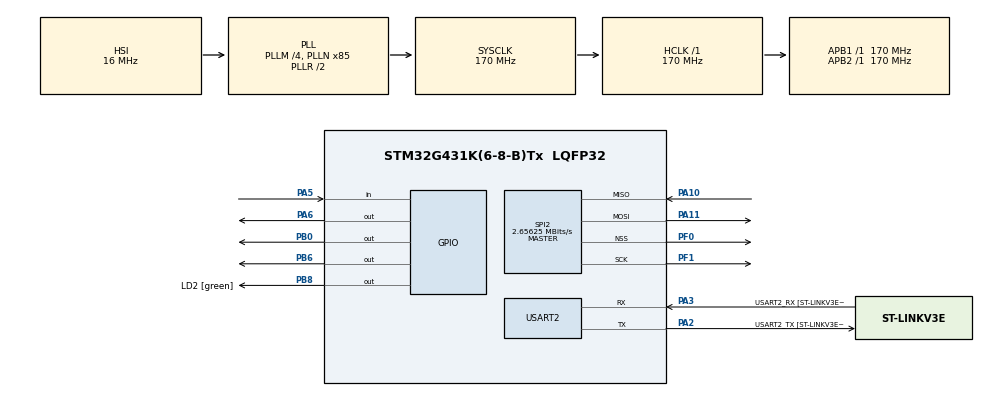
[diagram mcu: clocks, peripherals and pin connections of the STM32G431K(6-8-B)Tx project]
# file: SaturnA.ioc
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Mcu.Family=STM32G4
Mcu.Name=STM32G431K(6-8-B)Tx
Mcu.Package=LQFP32
NVIC.PriorityGroup=NVIC_PRIORITYGROUP_4
NVIC.SPI2_IRQn=true\:0\:0\:false\:false\:true\:true\:true\:true
PA10.Mode=Full_Duplex_Master
PA10.Signal=SPI2_MISO
PA11.Mode=Full_Duplex_Master
PA11.Signal=SPI2_MOSI
PA13.GPIO_Label=T_SWDIO
PA13.Mode=Serial_Wire
PA13.Signal=SYS_JTMS-SWDIO
PA14.GPIO_Label=T_SWCLK
PA14.Mode=Serial_Wire
PA14.Signal=SYS_JTCK-SWCLK
PA2.GPIO_Label=USART2_TX [ST-LINKV3E_VCP_RX]
PA2.Mode=Asynchronous
PA2.Signal=USART2_TX
PA3.GPIO_Label=USART2_RX [ST-LINKV3E_VCP_TX]
PA3.Mode=Asynchronous
PA3.Signal=USART2_RX
PA5.Signal=GPIO_Input
PA6.GPIO_Speed=GPIO_SPEED_FREQ_VERY_HIGH
PA6.Signal=GPIO_Output
PA8.Signal=S_TIM1_CH1
PB0.Signal=GPIO_Output
PB3.Signal=SYS_JTDO-SWO
PB6.Signal=GPIO_Output
PB8-BOOT0.GPIO_Label=LD2 [green]
PB8-BOOT0.Signal=GPIO_Output
PF0-OSC_IN.Mode=NSS_Signal_Hard_Output
PF0-OSC_IN.Signal=SPI2_NSS
PF1-OSC_OUT.Mode=Full_Duplex_Master
PF1-OSC_OUT.Signal=SPI2_SCK
ProjectManager.HeapSize=0x200
ProjectManager.StackSize=0x400
ProjectManager.TargetToolchain=STM32CubeIDE
RCC.ADC12Freq_Value=170000000
RCC.AHBFreq_Value=170000000
RCC.APB1Freq_Value=170000000
RCC.APB1TimFreq_Value=170000000
RCC.APB2Freq_Value=170000000
RCC.APB2TimFreq_Value=170000000
RCC.CortexFreq_Value=170000000
RCC.EXTERNAL_CLOCK_VALUE=12288000
RCC.HCLKFreq_Value=170000000
RCC.HSE_VALUE=8000000
RCC.HSI48_VALUE=48000000
RCC.HSI_VALUE=16000000
RCC.LSE_VALUE=32768
RCC.PLLM=RCC_PLLM_DIV4
RCC.PLLN=85
RCC.SYSCLKFreq_VALUE=170000000
RCC.SYSCLKSource=RCC_SYSCLKSOURCE_PLLCLK
RCC.USBFreq_Value=170000000
RCC.VCOOutputFreq_Value=340000000
SH.S_TIM1_CH1.0=TIM1_CH1
SPI2.BaudRatePrescaler=SPI_BAUDRATEPRESCALER_64
SPI2.CLKPhase=SPI_PHASE_2EDGE
SPI2.CLKPolarity=SPI_POLARITY_HIGH
SPI2.CalculateBaudRate=2.65625 MBits/s
SPI2.DataSize=SPI_DATASIZE_8BIT
SPI2.Direction=SPI_DIRECTION_2LINES
SPI2.Mode=SPI_MODE_MASTER
SPI2.VirtualNSS=VM_NSSHARD
SPI2.VirtualType=VM_MASTER
USART2.AutoBaudRateEnableParam=UART_ADVFEATURE_AUTOBAUDRATE_DISABLE
USART2.VirtualMode-Asynchronous=VM_ASYNC
USART2.WordLength=WORDLENGTH_8B
VP_SYS_VS_DBSignals.Mode=DisableDeadBatterySignals
board=NUCLEO-G431KB

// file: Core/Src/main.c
/* USER CODE BEGIN Header */
/**
  ******************************************************************************
  * @file           : main.c
  * @brief          : Main program body
  ******************************************************************************
  * @attention
  *
  * Copyright (c) 2024 STMicroelectronics.
  * All rights reserved.
  *
  * This software is licensed under terms that can be found in the LICENSE file
  * in the root directory of this software component.
  * If no LICENSE file comes with this software, it is provided AS-IS.
  *
  ******************************************************************************
  */
/* USER CODE END Header */
#include "main.h"
#include "spi.h"
#include "usart.h"
#include "gpio.h"

/* USER CODE BEGIN Includes */
#include "SaturnA/SaturnA_Core.h"
/* USER CODE END Includes */

void SystemClock_Config(void);

/* USER CODE BEGIN 0 */

#define TIMCLOCK 170000000
#define PRESCALAR 1

uint32_t IC_Val1 = 0;
uint32_t IC_Val2 = 0;
uint32_t Difference = 0;
int Is_First_Captured = 0;

/* Measure Frequency*/

float frequency = 0;

/* USER CODE END 0 */

int main(void)
{

  /* MCU Configuration--------------------------------------------------------*/

  /* Reset of all peripherals, Initializes the Flash interface and the Systick. */
  HAL_Init();

  /* Configure the system clock */
  SystemClock_Config();

  /* Initialize all configured peripherals */
  MX_GPIO_Init();
  MX_USART2_UART_Init();
  MX_SPI2_Init();
  /* USER CODE BEGIN 2 */
  Core1_Initialize(&huart2);

  //TIM1->CCR1 = 2;
  //HAL_TIM_PWM_Start(&htim1, TIM_CHANNEL_1);
  //HAL_TIM_IC_Start_IT(&htim2, TIM_CHANNEL_1);
  //HAL_TIM_IC_Start_IT(&htim8, TIM_CHANNEL_1);

  //HAL_TIM_IC_Start_IT(&htim8, TIM_CHANNEL_1);
  /* USER CODE END 2 */

  /* Infinite loop */
  /* USER CODE BEGIN WHILE */
  while (1)
  {
	  Core1_Loop();

    /* USER CODE END WHILE */

  }
}

void SystemClock_Config(void)
{
  RCC_OscInitTypeDef RCC_OscInitStruct = {0};
  RCC_ClkInitTypeDef RCC_ClkInitStruct = {0};

  /** Configure the main internal regulator output voltage
  */
  HAL_PWREx_ControlVoltageScaling(PWR_REGULATOR_VOLTAGE_SCALE1_BOOST);

  /** Initializes the RCC Oscillators according to the specified parameters
  * in the RCC_OscInitTypeDef structure.
  */
  RCC_OscInitStruct.OscillatorType = RCC_OSCILLATORTYPE_HSI;
  RCC_OscInitStruct.HSIState = RCC_HSI_ON;
  RCC_OscInitStruct.HSICalibrationValue = RCC_HSICALIBRATION_DEFAULT;
  RCC_OscInitStruct.PLL.PLLState = RCC_PLL_ON;
  RCC_OscInitStruct.PLL.PLLSource = RCC_PLLSOURCE_HSI;
  RCC_OscInitStruct.PLL.PLLM = RCC_PLLM_DIV4;
  RCC_OscInitStruct.PLL.PLLN = 85;
  RCC_OscInitStruct.PLL.PLLP = RCC_PLLP_DIV2;
  RCC_OscInitStruct.PLL.PLLQ = RCC_PLLQ_DIV2;
  RCC_OscInitStruct.PLL.PLLR = RCC_PLLR_DIV2;
  if (HAL_RCC_OscConfig(&RCC_OscInitStruct) != HAL_OK)
  {
    Error_Handler();
  }

  /** Initializes the CPU, AHB and APB buses clocks
  */
  RCC_ClkInitStruct.ClockType = RCC_CLOCKTYPE_HCLK|RCC_CLOCKTYPE_SYSCLK
                              |RCC_CLOCKTYPE_PCLK1|RCC_CLOCKTYPE_PCLK2;
  RCC_ClkInitStruct.SYSCLKSource = RCC_SYSCLKSOURCE_PLLCLK;
  RCC_ClkInitStruct.AHBCLKDivider = RCC_SYSCLK_DIV1;
  RCC_ClkInitStruct.APB1CLKDivider = RCC_HCLK_DIV1;
  RCC_ClkInitStruct.APB2CLKDivider = RCC_HCLK_DIV1;

  if (HAL_RCC_ClockConfig(&RCC_ClkInitStruct, FLASH_LATENCY_4) != HAL_OK)
  {
    Error_Handler();
  }
}

/* USER CODE BEGIN 4 */
void HAL_GPIO_EXTI_Callback(uint16_t GPIO_Pin)
{
  if(GPIO_Pin == GPIO_PIN_6) {
      __NOP();
  } else {
      __NOP();
  }
}
/* USER CODE END 4 */

void Error_Handler(void)
{
  __disable_irq();
  while (1)
  {
  }
}
